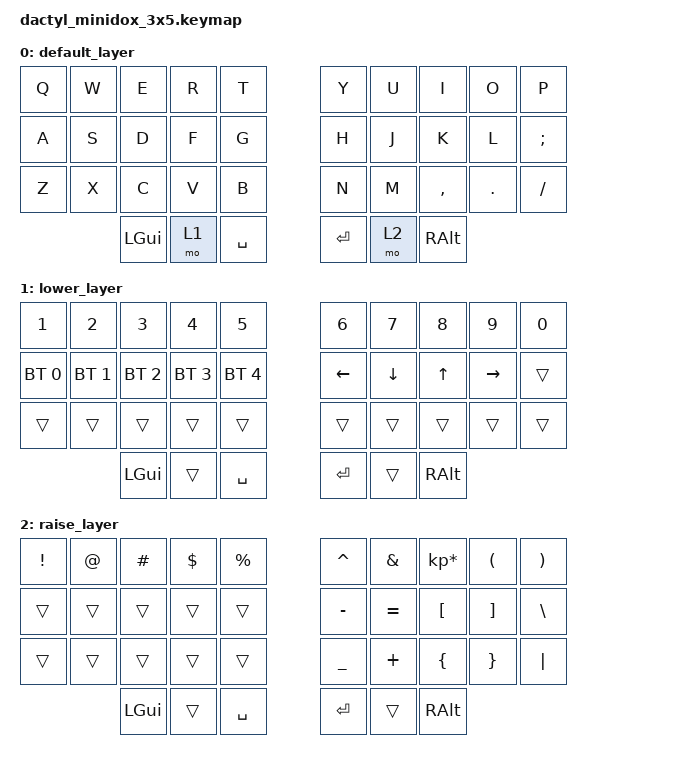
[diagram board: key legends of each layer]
#include <behaviors.dtsi>
#include <dt-bindings/zmk/keys.h>
#include <dt-bindings/zmk/bt.h>

/ {
        keymap {
                compatible = "zmk,keymap";

                default_layer {
                        bindings = <
                                    &kp Q        &kp W        &kp E        &kp R &kp T       &kp Y          &kp U      &kp I      &kp O           &kp P    
                                    &kp A        &kp S        &kp D        &kp F &kp G       &kp H          &kp J      &kp K      &kp L           &kp SEMI 
                                    &kp Z        &kp X        &kp C        &kp V &kp B       &kp N          &kp M      &kp COMMA  &kp DOT         &kp FSLH 
                                                              &kp LGUI     &mo 1 &kp SPACE   &kp RET        &mo 2      &kp RALT
                        >;
                };
                lower_layer {
                        bindings = <
                                    &kp N1       &kp N2       &kp N3       &kp N4            &kp N5         &kp N6     &kp N7     &kp N8          &kp N9    &kp N0 
                                    &bt BT_SEL 0 &bt BT_SEL 1 &bt BT_SEL 2 &bt BT_SEL 3      &bt BT_SEL 4   &kp LEFT   &kp DOWN   &kp UP          &kp RIGHT &trans 
                                    &trans       &trans       &trans       &trans            &trans         &trans     &trans     &trans          &trans    &trans 
                                                              &kp LGUI     &trans            &kp SPACE      &kp RET    &trans     &kp RALT
                        >;
                };

                raise_layer {
                        bindings = <
                                    &kp EXCL     &kp AT       &kp HASH     &kp DLLR          &kp PRCNT      &kp CARET  &kp AMPS   &kp KP_MULTIPLY &kp LPAR  &kp RPAR
                                    &trans       &trans       &trans       &trans            &trans         &kp MINUS  &kp EQUAL  &kp LBKT        &kp RBKT  &kp BSLH
                                    &trans       &trans       &trans       &trans            &trans         &kp UNDER  &kp PLUS   &kp LBRC        &kp RBRC  &kp PIPE
                                                              &kp LGUI     &trans            &kp SPACE      &kp RET    &trans     &kp RALT
                        >;
                };
        };
};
